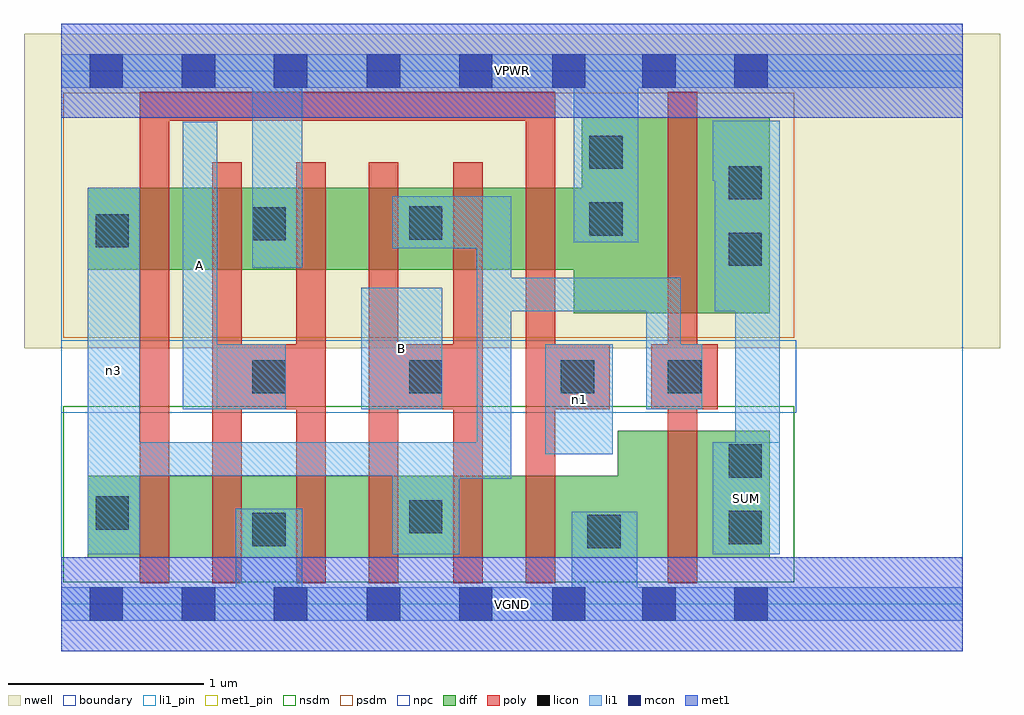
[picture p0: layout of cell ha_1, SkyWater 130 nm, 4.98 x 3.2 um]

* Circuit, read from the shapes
.subckt ha_1 A B SUM VGND VPWR n1 n3
XM1 n2 n1 n3 VSUBS sky130_fd_pr__nfet_01v8 w=0.42 l=0.15
XM2 VGND A n2 VSUBS sky130_fd_pr__nfet_01v8 w=0.42 l=0.15
XM3 n4 A VGND VSUBS sky130_fd_pr__nfet_01v8 w=0.42 l=0.15
XM4 n3 B n4 VSUBS sky130_fd_pr__nfet_01v8 w=0.42 l=0.15
XM5 n5 B n3 VSUBS sky130_fd_pr__nfet_01v8 w=0.42 l=0.15
XM6 VGND n1 n5 VSUBS sky130_fd_pr__nfet_01v8 w=0.42 l=0.15
XM7 SUM n3 VGND VSUBS sky130_fd_pr__nfet_01v8 w=0.65 l=0.15
XM8 n6 n1 n3 n7 sky130_fd_pr__pfet_01v8 w=0.42 l=0.15
XM9 VPWR A n6 n7 sky130_fd_pr__pfet_01v8 w=0.42 l=0.15
XM10 n8 A VPWR n7 sky130_fd_pr__pfet_01v8 w=0.42 l=0.15
XM11 n3 B n8 n7 sky130_fd_pr__pfet_01v8 w=0.42 l=0.15
XM12 n9 B n3 n7 sky130_fd_pr__pfet_01v8 w=0.42 l=0.15
XM13 VPWR n1 n9 n7 sky130_fd_pr__pfet_01v8 w=0.42 l=0.15
XM14 SUM n3 VPWR n7 sky130_fd_pr__pfet_01v8 w=1 l=0.15
.ends

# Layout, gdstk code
import gdstk
lib = gdstk.Library(unit=1e-6, precision=1e-09)
def R(c, l, rs):  # rectangles x0, y0, x1, y1
    for r in rs: c.add(gdstk.rectangle(r[:2], r[2:], *l))
def A(c, l, x, y, w, h, nx, ny, dx, dy):  # array of equal rectangles
    R(c, l, [(x+i*dx, y+j*dy, x+i*dx+w, y+j*dy+h) for i in range(nx) for j in range(ny)])
nwell = (64, 20)
diff = (65, 20)
poly = (66, 20)
licon = (66, 44)
li1_pin = (67, 16)
li1 = (67, 20)
mcon = (67, 44)
met1_pin = (68, 16)
met1 = (68, 20)
nsdm = (93, 44)
psdm = (94, 20)
npc = (95, 20)
boundary = (235, 4)

ha_1 = lib.new_cell('ha_1')
R(ha_1, nwell, [(-0.19,1.305,4.79,2.91), (0,1.305,4.6,2.91)])
R(ha_1, diff, [(0.135,0.235,3.615,0.655), (2.84,0.235,3.615,0.885), (2.615,1.485,3.615,2.125), (2.655,1.485,3.615,2.485), (0.135,1.705,3.615,2.125)])
R(ha_1, poly, [(0.4,0.105,0.55,2.615), (0.77,0.105,0.92,2.255), (1.2,0.105,1.35,2.255), (1.57,0.105,1.72,2.255), (2,0.105,2.15,2.255), (2.37,0.105,2.52,2.615), (3.095,0.105,3.245,2.615), (0.77,0.995,1.35,1.325), (1.57,0.995,2.15,1.325), (2.37,0.995,2.8,1.325), (3.01,0.995,3.35,1.325), (0.4,2.465,2.52,2.615)])
A(ha_1, licon, 0.975, 0.295, 0.17, 0.17, 1, 3, 0, 0.78)
R(ha_1, licon, [(2.685,0.285,2.855,0.455), (3.405,0.305,3.575,0.475), (1.775,0.36,1.945,0.53), (0.175,0.38,0.345,0.55), (3.405,0.645,3.575,0.815), (1.775,1.075,1.945,1.245), (2.55,1.075,2.72,1.245), (3.095,1.075,3.265,1.245), (3.405,1.725,3.575,1.895), (0.175,1.82,0.345,1.99), (1.775,1.86,1.945,2.03), (2.695,1.88,2.865,2.05), (3.405,2.065,3.575,2.235), (2.695,2.22,2.865,2.39)])
R(ha_1, li1_pin, [(3.325,0.255,3.665,0.825), (0.62,0.995,0.795,2.46), (1.53,0.995,1.945,1.615)])
R(ha_1, li1, [(0,-0.085,4.6,0.085), (0.89,-0.085,1.23,0.485), (2.605,-0.085,2.94,0.47), (0.135,0.255,0.4,2.125), (1.69,0.255,2.03,0.825), (3.325,0.255,3.665,0.825), (3.44,0.255,3.665,2.465), (1.69,0.64,2.295,0.825), (2.12,0.64,2.295,2.08), (0.135,0.655,2.295,0.825), (2.47,0.765,2.815,1.325), (0.62,0.995,0.795,2.46), (0.62,0.995,1.145,1.325), (1.53,0.995,1.945,1.615), (2.985,0.995,3.27,1.325), (2.985,0.995,3.16,1.665), (2.12,1.495,3.16,1.665), (3.335,1.495,3.665,2.465), (0.975,1.715,1.23,2.805), (1.69,1.815,2.295,2.08), (2.615,1.845,2.945,2.805), (3.325,2.16,3.665,2.465), (0,2.635,4.6,2.805)])
A(ha_1, mcon, 0.145, -0.085, 0.17, 0.17, 3, 2, 0.47, 2.72)
R(ha_1, mcon, [(1.56,-0.085,1.73,0.085), (2.03,-0.085,2.2,0.085), (2.505,-0.085,2.675,0.085), (2.965,-0.085,3.135,0.085), (3.435,-0.085,3.605,0.085), (1.56,2.635,1.73,2.805), (2.03,2.635,2.2,2.805), (2.505,2.635,2.675,2.805), (2.965,2.635,3.135,2.805), (3.435,2.635,3.605,2.805)])
R(ha_1, met1_pin, [(0,-0.24,4.6,0.24), (0,2.48,4.6,2.96)])
R(ha_1, met1, [(0,-0.24,4.6,0.24), (0,2.48,4.6,2.96)])
R(ha_1, nsdm, [(0.01,0.11,3.74,1.01)])
R(ha_1, psdm, [(0.01,1.36,3.74,2.61)])
R(ha_1, npc, [(0,0.975,3.75,1.345)])
R(ha_1, boundary, [(0,0,4.6,2.72)])
ha_1.add(gdstk.Label('A', (0.707,1.727), layer=67, texttype=5))
ha_1.add(gdstk.Label('B', (1.737,1.305), layer=67, texttype=5))
ha_1.add(gdstk.Label('SUM', (3.495,0.54), layer=67, texttype=5))
ha_1.add(gdstk.Label('n1', (2.642,1.045), layer=67, texttype=5))
ha_1.add(gdstk.Label('n3', (0.267,1.19), layer=67, texttype=5))
ha_1.add(gdstk.Label('VPWR', (2.3,2.72), layer=68, texttype=5))
ha_1.add(gdstk.Label('VGND', (2.3,0), layer=68, texttype=5))
ha_1.add(gdstk.Label('A', (0.707,1.727), layer=67, texttype=16))
ha_1.add(gdstk.Label('B', (1.737,1.305), layer=67, texttype=16))
ha_1.add(gdstk.Label('SUM', (3.495,0.54), layer=67, texttype=16))
ha_1.add(gdstk.Label('VPWR', (2.3,2.72), layer=68, texttype=16))
ha_1.add(gdstk.Label('VGND', (2.3,0), layer=68, texttype=16))

lib.write_gds('ha_1.gds')
